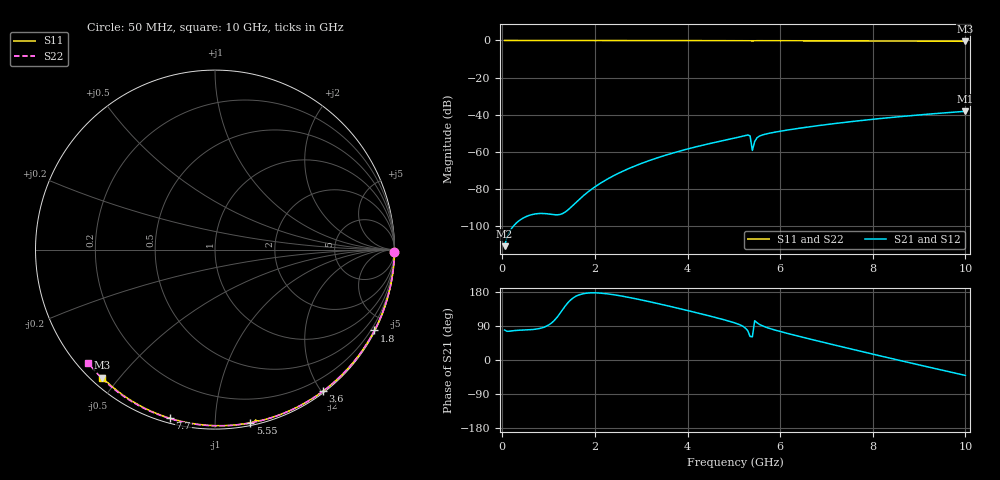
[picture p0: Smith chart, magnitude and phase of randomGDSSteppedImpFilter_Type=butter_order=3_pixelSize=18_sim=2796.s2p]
! freq	dB(S11)	phase(S11)	dB(S12)	phase(S12)
!  dB(S21)	phase(S21)	dB(S22)	phase(S22)
!S-par simulation data
#  GHz  S  DB  R 50
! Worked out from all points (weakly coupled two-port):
!   200 points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, 50 MHz to 10 GHz, reference 50 ohm
!   highest |S21| = -38.19 dB at 10 GHz (marker M1); lowest = -110.9 dB at 50 MHz (marker M2)
!   lowest |S11| = -0.4 dB at 10 GHz (marker M3), VSWR 39.03, Z = 1.54 - j22.6 ohm
!   |S11| at or under -10 dB: nowhere
!   |S22| runs from -0.5 to 0.0 dB; largest |S21 - S12| = 0
!   S11 on the Smith chart (normalised r, x): 50 MHz: open; 1.8 GHz: 0.04, -4.18; 3.6 GHz: 0.02, -2.02; 5.55 GHz: 0.02, -1.23; 7.7 GHz: 0.02, -0.77; 10 GHz: 0.03, -0.45
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0.05  -0.00 -0.8  -110.87 79.2  -110.87 79.2  -0.00 -0.8
0.9  -0.02 -13.6  -93.27 86.5  -93.27 86.5  -0.02 -14.3
1.75  -0.03 -26.2  -83.69 175.0  -83.69 175.0  -0.04 -27.6
1.8  -0.03 -26.9  -82.64 176.1  -82.64 176.1  -0.04 -28.4
1.95  -0.04 -29.1  -79.78 177.3  -79.78 177.3  -0.04 -30.7
2.25  -0.04 -33.5  -74.98 174.9  -74.98 174.9  -0.05 -35.3
2.55  -0.05 -37.8  -71.08 169.3  -71.08 169.3  -0.05 -39.9
2.95  -0.06 -43.5  -66.79 159.9  -66.79 159.9  -0.06 -45.9
3.4  -0.07 -49.8  -62.83 147.8  -62.83 147.8  -0.07 -52.5
3.6  -0.07 -52.6  -61.28 142.2  -61.28 142.2  -0.07 -55.4
5.05  -0.11 -72.2  -52.42 96.6  -52.42 96.6  -0.12 -75.9
5.3  -0.13 -75.6  -50.95 77.6  -50.95 77.6  -0.13 -79.4
5.35  -0.16 -76.3  -51.38 62.1  -51.38 62.1  -0.13 -80.0
5.4  -0.21 -76.6  -59.30 61.2  -59.30 61.2  -0.13 -80.7
5.45  -0.16 -77.0  -54.53 103.7  -54.53 103.7  -0.13 -81.4
5.5  -0.14 -77.7  -52.43 98.4  -52.43 98.4  -0.13 -82.0
5.55  -0.14 -78.4  -51.58 94.2  -51.58 94.2  -0.14 -82.7
5.9  -0.14 -83.0  -49.36 78.6  -49.36 78.6  -0.15 -87.4
6.7  -0.18 -92.9  -46.31 53.6  -46.31 53.6  -0.19 -97.8
7.7  -0.24 -104.9  -43.28 24.1  -43.28 24.1  -0.25 -110.4
8.35  -0.29 -112.5  -41.61 5.5  -41.61 5.5  -0.30 -118.4
10  -0.45 -131.3  -38.19 -40.7  -38.19 -40.7  -0.47 -138.4
